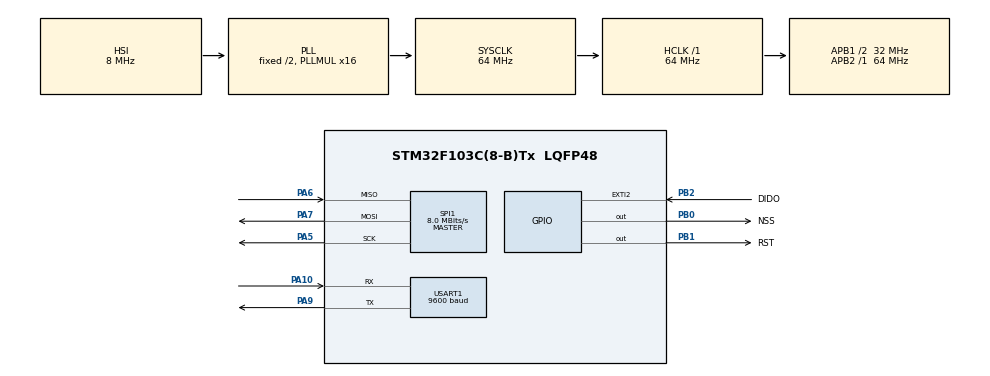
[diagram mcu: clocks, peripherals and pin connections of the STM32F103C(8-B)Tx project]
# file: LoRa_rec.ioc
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Mcu.Family=STM32F1
Mcu.Name=STM32F103C(8-B)Tx
Mcu.Package=LQFP48
NVIC.PriorityGroup=NVIC_PRIORITYGROUP_4
PA10.Mode=Asynchronous
PA10.Signal=USART1_RX
PA13.Mode=Serial_Wire
PA13.Signal=SYS_JTMS-SWDIO
PA14.Mode=Serial_Wire
PA14.Signal=SYS_JTCK-SWCLK
PA5.Mode=Full_Duplex_Master
PA5.Signal=SPI1_SCK
PA6.Mode=Full_Duplex_Master
PA6.Signal=SPI1_MISO
PA7.Mode=Full_Duplex_Master
PA7.Signal=SPI1_MOSI
PA9.Mode=Asynchronous
PA9.Signal=USART1_TX
PB0.GPIO_Label=NSS
PB0.PinState=GPIO_PIN_SET
PB0.Signal=GPIO_Output
PB1.GPIO_Label=RST
PB1.PinState=GPIO_PIN_SET
PB1.Signal=GPIO_Output
PB2.GPIO_Label=DIDO
PB2.Signal=GPXTI2
PD0-OSC_IN.Mode=HSE-External-Oscillator
PD0-OSC_IN.Signal=RCC_OSC_IN
PD1-OSC_OUT.Mode=HSE-External-Oscillator
PD1-OSC_OUT.Signal=RCC_OSC_OUT
ProjectManager.HeapSize=0x200
ProjectManager.StackSize=0x400
ProjectManager.TargetToolchain=STM32CubeIDE
RCC.AHBFreq_Value=64000000
RCC.APB1CLKDivider=RCC_HCLK_DIV2
RCC.APB1Freq_Value=32000000
RCC.APB1TimFreq_Value=64000000
RCC.APB2Freq_Value=64000000
RCC.APB2TimFreq_Value=64000000
RCC.HCLKFreq_Value=64000000
RCC.PLLMUL=RCC_PLL_MUL16
RCC.SYSCLKFreq_VALUE=64000000
RCC.SYSCLKSource=RCC_SYSCLKSOURCE_PLLCLK
RCC.USBFreq_Value=64000000
SPI1.BaudRatePrescaler=SPI_BAUDRATEPRESCALER_8
SPI1.CalculateBaudRate=8.0 MBits/s
SPI1.Direction=SPI_DIRECTION_2LINES
SPI1.Mode=SPI_MODE_MASTER
SPI1.VirtualType=VM_MASTER
USART1.BaudRate=9600
USART1.VirtualMode=VM_ASYNC
board=custom

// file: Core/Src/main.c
/* USER CODE BEGIN Header */
/**
  ******************************************************************************
  * @file           : main.c
  * @brief          : Main program body
  ******************************************************************************
  * @attention
  *
  * Copyright (c) 2024 STMicroelectronics.
  * All rights reserved.
  *
  * This software is licensed under terms that can be found in the LICENSE file
  * in the root directory of this software component.
  * If no LICENSE file comes with this software, it is provided AS-IS.
  *
  ******************************************************************************
  */
/* USER CODE END Header */
#include "main.h"
#include "spi.h"
#include "usart.h"
#include "gpio.h"

/* USER CODE BEGIN Includes */
#include "uart.h" //for ble
#include "string.h"
#include "stdio.h"

#include "LoRa.h"
/* USER CODE END Includes */

/* USER CODE BEGIN PD */
	LoRa myLoRa;

/* USER CODE END PD */

/* USER CODE BEGIN PV */
 uint8_t LoRa_status = 0 ;
	  char send_data[200];
	  int i ;
	  char buffer[100];
	  uint8_t received_data[200];
	  uint8_t packet_size = 0;
/* USER CODE END PV */

void SystemClock_Config(void);

int main(void)
{

  /* MCU Configuration--------------------------------------------------------*/

  /* Reset of all peripherals, Initializes the Flash interface and the Systick. */
  HAL_Init();

  /* Configure the system clock */
  SystemClock_Config();

  /* Initialize all configured peripherals */
  MX_GPIO_Init();
  MX_SPI1_Init();
  MX_USART1_UART_Init();
  /* USER CODE BEGIN 2 */
  myLoRa = newLoRa();

  	  myLoRa.CS_port         = NSS_GPIO_Port;
  	  myLoRa.CS_pin          = NSS_Pin;
  	  myLoRa.reset_port      = RST_GPIO_Port;
  	  myLoRa.reset_pin       = RST_Pin;
  	  myLoRa.DIO0_port       = DIDO_GPIO_Port;
  	  myLoRa.DIO0_pin        = DIDO_Pin;
  	  myLoRa.hSPIx           = &hspi1;

  	  myLoRa.frequency			   = 433000000;             // default = 433 MHz
  	  myLoRa.spredingFactor        = SF_7;            // default = SF_7
  	  myLoRa.bandWidth             = BW_125KHz;       // default = BW_125KHz
  	  myLoRa.crcRate               = CR_4_5;          // default = CR_4_5
  	  myLoRa.power                 = POWER_20db;      // default = 20db
  	  myLoRa.overCurrentProtection = 130;             // default = 100 mA
  	  myLoRa.preamble              = 10;              // default = 8;

    if(LoRa_init(&myLoRa) == LORA_OK){
  	  LoRa_status = 1 ;
  	  uartx_write_text(&huart1, "LoRa Initialized!\r\n");
    }
    else{
      uartx_write_text(&huart1,"LoRa Initialized!\r\n");
    }

    LoRa_startReceiving(&myLoRa);

  /* USER CODE END 2 */

  /* Infinite loop */
  /* USER CODE BEGIN WHILE */
  while (1)
  {
	  packet_size = LoRa_receive(&myLoRa, received_data, 10);
	  sprintf(buffer, "%u", packet_size);
	  uartx_write_text(&huart1,buffer);

    /* USER CODE END WHILE */

  }
}

void SystemClock_Config(void)
{
  RCC_OscInitTypeDef RCC_OscInitStruct = {0};
  RCC_ClkInitTypeDef RCC_ClkInitStruct = {0};

  /** Initializes the RCC Oscillators according to the specified parameters
  * in the RCC_OscInitTypeDef structure.
  */
  RCC_OscInitStruct.OscillatorType = RCC_OSCILLATORTYPE_HSI;
  RCC_OscInitStruct.HSIState = RCC_HSI_ON;
  RCC_OscInitStruct.HSICalibrationValue = RCC_HSICALIBRATION_DEFAULT;
  RCC_OscInitStruct.PLL.PLLState = RCC_PLL_ON;
  RCC_OscInitStruct.PLL.PLLSource = RCC_PLLSOURCE_HSI_DIV2;
  RCC_OscInitStruct.PLL.PLLMUL = RCC_PLL_MUL16;
  if (HAL_RCC_OscConfig(&RCC_OscInitStruct) != HAL_OK)
  {
    Error_Handler();
  }

  /** Initializes the CPU, AHB and APB buses clocks
  */
  RCC_ClkInitStruct.ClockType = RCC_CLOCKTYPE_HCLK|RCC_CLOCKTYPE_SYSCLK
                              |RCC_CLOCKTYPE_PCLK1|RCC_CLOCKTYPE_PCLK2;
  RCC_ClkInitStruct.SYSCLKSource = RCC_SYSCLKSOURCE_PLLCLK;
  RCC_ClkInitStruct.AHBCLKDivider = RCC_SYSCLK_DIV1;
  RCC_ClkInitStruct.APB1CLKDivider = RCC_HCLK_DIV2;
  RCC_ClkInitStruct.APB2CLKDivider = RCC_HCLK_DIV1;

  if (HAL_RCC_ClockConfig(&RCC_ClkInitStruct, FLASH_LATENCY_2) != HAL_OK)
  {
    Error_Handler();
  }
}

void Error_Handler(void)
{
  __disable_irq();
  while (1)
  {
  }
}
